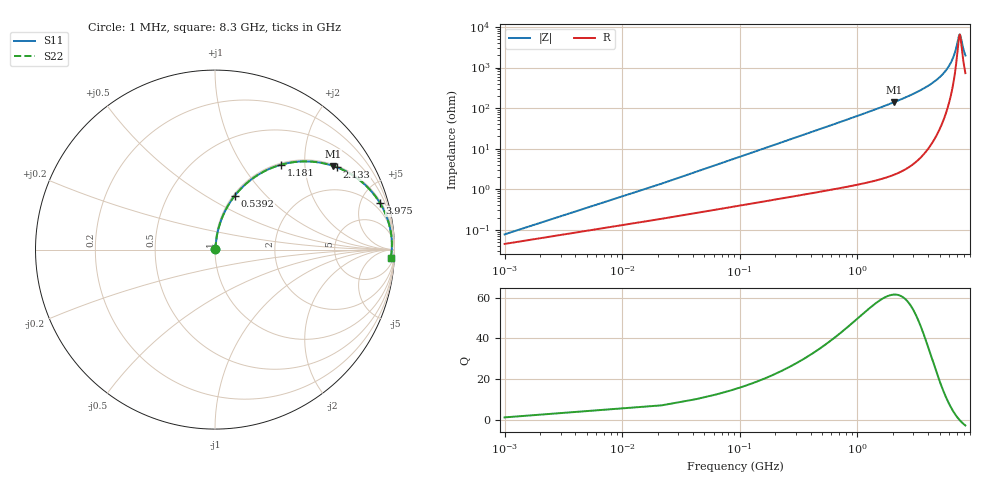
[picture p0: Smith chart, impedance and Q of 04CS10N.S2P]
! Coilcraft 0402CS-10N Chip Inductor
! 29 May 2002
# MHZ S MA R 50
!Freq  MagS11  AngS11  MagS21  AngS21  MagS12  AngS12  MagS22  AngS22
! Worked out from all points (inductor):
!   402 points, 1 MHz to 8.3 GHz, reference 50 ohm
!   read as one part in series: L = 10 nH near 42.4 MHz
!   highest Q = 61.4 at 2.05 GHz (marker M1), where L = 10.8 nH
!   self-resonance near 7.436 GHz
!   S11 on the Smith chart (normalised r, x): 1 MHz: 1.00, +0.00; 539.2 MHz: 1.02, +0.68; 1.181 GHz: 1.03, +1.52; 2.133 GHz: 1.05, +2.92; 3.975 GHz: 1.19, +7.00; 8.3 GHz: 16, -37
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1  0.0007713 54.5  0.9996 -0.0  0.9996 -0.0  0.0007713 54.5
63.1  0.03962 83.2  0.9961 -2.3  0.9961 -2.3  0.03962 83.2
83.8  0.05252 83.1  0.995 -3.0  0.995 -3.0  0.05252 83.1
125.2  0.07823 82.3  0.9926 -4.5  0.9926 -4.5  0.07823 82.3
187.3  0.1165 80.7  0.9879 -6.7  0.9879 -6.7  0.1165 80.7
290.8  0.179 77.6  0.9773 -10.3  0.9773 -10.3  0.179 77.6
539.2  0.3199 69.8  0.9389 -18.6  0.9389 -18.6  0.3199 69.8
829  0.4625 61.2  0.8766 -27.5  0.8766 -27.5  0.4625 61.2
1180.9  0.6004 52.0  0.7885 -36.9  0.7885 -36.9  0.6004 52.0
1387.9  0.6647 47.3  0.7355 -41.7  0.7355 -41.7  0.6647 47.3
2050.3  0.8065 35.3  0.5782 -53.7  0.5782 -53.7  0.8065 35.3
2133.1  0.819 34.1  0.5606 -55.0  0.5606 -55.0  0.819 34.1
2774.8  0.8906 26.1  0.4394 -62.9  0.4394 -62.9  0.8906 26.1
3975.4  0.9546 15.8  0.2727 -72.6  0.2727 -72.6  0.9546 15.8
4161.7  0.9601 14.6  0.2519 -73.7  0.2519 -73.7  0.9601 14.6
5548.6  0.9823 7.2  0.125 -78.3  0.125 -78.3  0.9823 7.2
6355.9  0.9859 3.8  0.06735 -76.1  0.06735 -76.1  0.9859 3.8
6935.5  0.986 1.7  0.03229 -63.6  0.03229 -63.6  0.986 1.7
7287.4  0.9853 0.5  0.0169 -29.6  0.0169 -29.6  0.9853 0.5
7453  0.9848 -0.1  0.01519 3.6  0.01519 3.6  0.9848 -0.1
7991.2  0.9825 -1.7  0.03463 58.9  0.03463 58.9  0.9825 -1.7
8300  0.9808 -2.6  0.04945 65.9  0.04945 65.9  0.9808 -2.6
